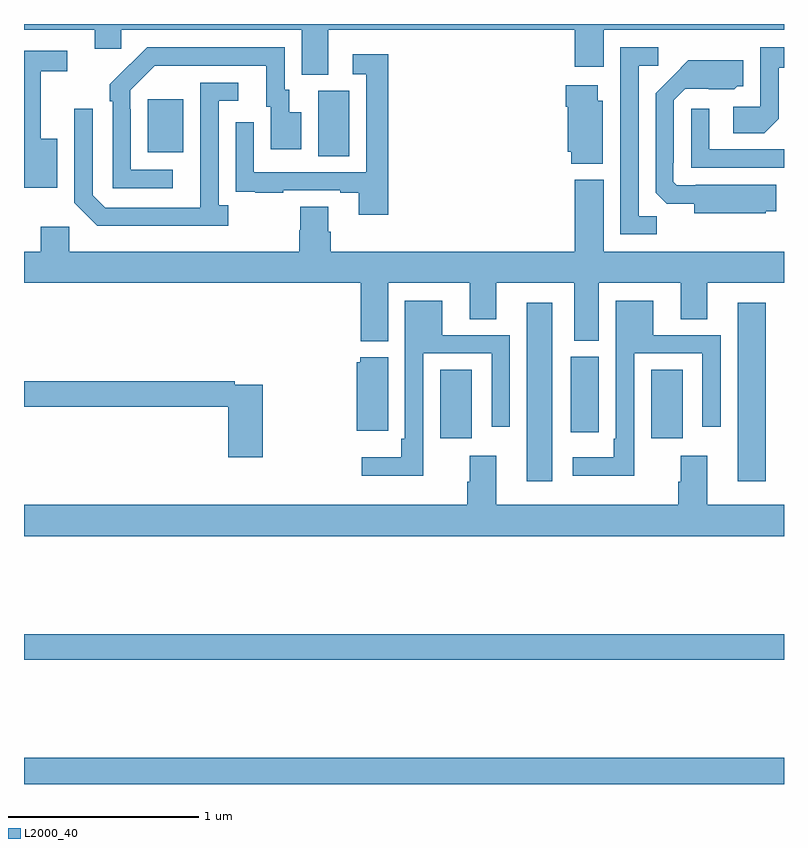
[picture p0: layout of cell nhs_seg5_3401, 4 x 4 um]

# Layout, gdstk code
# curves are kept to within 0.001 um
import gdstk
lib = gdstk.Library(unit=1e-6, precision=1e-09)
def R(c, l, rs):  # rectangles x0, y0, x1, y1
    for r in rs: c.add(gdstk.rectangle(r[:2], r[2:], *l))
def P(c, l, *ps):  # polygons
    for p in ps: c.add(gdstk.Polygon(p, *l))
L2000_40 = (2000, 40)

nhs_seg5_3401 = lib.new_cell('nhs_seg5_3401')
R(nhs_seg5_3401, L2000_40, [(311,844.799,315,844.936), (311,845.452,315,845.588), (313.646,846.393,313.78,847.333), (314.756,846.393,314.903,847.333), (313.19,846.618,313.357,846.98), (314.3,846.618,314.467,846.98), (313.877,846.651,314.026,847.047), (312.548,848.104,312.712,848.448), (311.651,848.123,311.839,848.404)])
P(nhs_seg5_3401, L2000_40, [(312.601,848.768),(313.898,848.768),(313.898,848.574),(314.05,848.574),(314.05,848.768),(315,848.768),(315,848.799),(311,848.799),(311,848.768),(311.372,848.768),(311.372,848.67),(311.511,848.67),(311.511,848.768),(312.461,848.768),(312.461,848.533),(312.601,848.533)],
  [(314.331,847.787),(314.235,847.787),(314.235,848.58),(314.338,848.58),(314.338,848.676),(314.139,848.676),(314.139,847.692),(314.331,847.692)],
  [(314.973,848.3),(314.973,848.568),(315,848.568),(315,848.676),(314.874,848.676),(314.874,848.364),(314.733,848.364),(314.733,848.224),(314.897,848.224)],
  [(311.782,848.031),(311.562,848.031),(311.562,848.351),(311.559,848.351),(311.559,848.451),(311.688,848.58),(312.275,848.58),(312.275,848.364),(312.299,848.364),(312.299,848.139),(312.46,848.139),(312.46,848.335),(312.397,848.335),(312.397,848.454),(312.372,848.454),(312.372,848.676),(311.648,848.676),(311.451,848.481),(311.451,848.393),(311.466,848.393),(311.466,847.935),(311.782,847.935)],
  [(311.176,848.194),(311.087,848.194),(311.087,848.55),(311.227,848.55),(311.227,848.658),(311,848.658),(311,847.937),(311.176,847.937)],
  [(312.917,848.641),(312.729,848.641),(312.729,848.535),(312.801,848.535),(312.801,848.019),(312.21,848.019),(312.21,848.281),(312.114,848.281),(312.114,848.026),(312.115,848.026),(312.115,847.917),(312.217,847.917),(312.217,847.911),(312.365,847.911),(312.365,847.923),(312.665,847.923),(312.665,847.911),(312.761,847.911),(312.761,847.794),(312.917,847.794)],
  [(314.904,847.814),(314.96,847.814),(314.96,847.954),(314.536,847.954),(314.536,847.95),(314.436,847.95),(314.418,847.968),(314.418,848.068),(314.421,848.068),(314.421,848.397),(314.481,848.457),(314.738,848.456),(314.754,848.472),(314.785,848.472),(314.785,848.608),(314.497,848.608),(314.325,848.434),(314.325,847.912),(314.384,847.853),(314.528,847.853),(314.528,847.802),(314.904,847.802)],
  [(312.076,847.846),(312.024,847.846),(312.024,848.394),(312.127,848.394),(312.127,848.49),(311.928,848.49),(311.928,847.833),(311.427,847.833),(311.361,847.899),(311.361,848.353),(311.265,848.353),(311.265,847.857),(311.386,847.736),(312.076,847.736)],
  [(314.047,848.394),(314.02,848.394),(314.02,848.476),(313.85,848.476),(313.85,848.363),(313.862,848.363),(313.862,848.127),(313.88,848.127),(313.88,848.063),(314.047,848.063)],
  [(315,848.139),(314.607,848.139),(314.607,848.353),(314.511,848.353),(314.511,848.043),(315,848.043)],
  [(312.916,847.436),(313.346,847.436),(313.346,847.246),(313.486,847.246),(313.486,847.436),(313.895,847.436),(313.895,847.132),(314.026,847.132),(314.026,847.436),(314.456,847.436),(314.456,847.246),(314.596,847.246),(314.596,847.436),(315,847.436),(315,847.6),(314.05,847.6),(314.05,847.978),(313.898,847.978),(313.898,847.6),(312.614,847.6),(312.614,847.706),(312.601,847.706),(312.601,847.838),(312.454,847.838),(312.454,847.713),(312.449,847.713),(312.449,847.6),(311.238,847.6),(311.238,847.732),(311.087,847.732),(311.087,847.6),(311,847.6),(311,847.436),(312.773,847.436),(312.773,847.13),(312.916,847.13)],
  [(314.211,847.065),(314.571,847.065),(314.571,846.678),(314.667,846.678),(314.667,847.161),(314.311,847.161),(314.311,847.342),(314.115,847.342),(314.115,846.616),(314.103,846.616),(314.103,846.52),(313.887,846.52),(313.887,846.422),(314.211,846.422)],
  [(313.101,847.065),(313.461,847.065),(313.461,846.678),(313.557,846.678),(313.557,847.161),(313.201,847.161),(313.201,847.342),(313.005,847.342),(313.005,846.616),(312.985,846.616),(312.985,846.52),(312.777,846.52),(312.777,846.422),(313.101,846.422)],
  [(312.916,847.045),(312.771,847.045),(312.771,847.02),(312.752,847.02),(312.752,846.659),(312.916,846.659)],
  [(312.257,846.9),(312.11,846.9),(312.11,846.92),(311,846.92),(311,846.784),(312.074,846.784),(312.074,846.519),(312.257,846.519)],
  [(315,846.268),(314.596,846.268),(314.596,846.526),(314.456,846.526),(314.456,846.389),(314.444,846.389),(314.444,846.268),(313.486,846.268),(313.486,846.526),(313.346,846.526),(313.346,846.389),(313.334,846.389),(313.334,846.268),(311,846.268),(311,846.104),(315,846.104)])

lib.write_gds('nhs_seg5_3401.gds')
